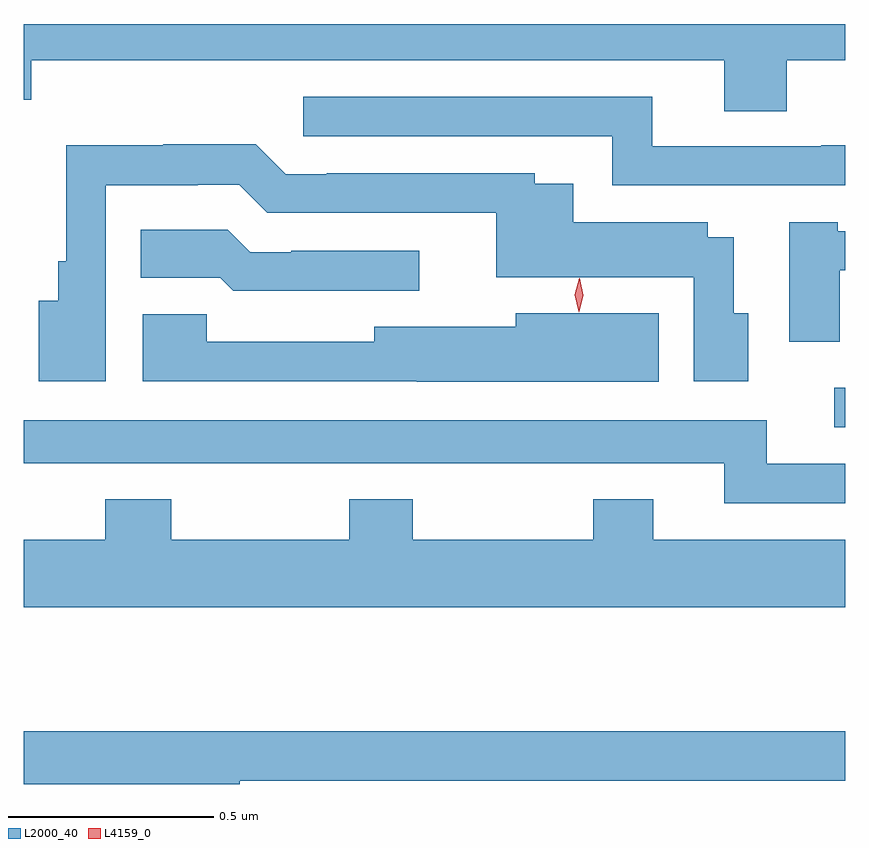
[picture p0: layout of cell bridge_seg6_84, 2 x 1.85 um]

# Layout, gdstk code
import gdstk
lib = gdstk.Library(unit=1e-6, precision=1e-09)
def R(c, l, rs):  # rectangles x0, y0, x1, y1
    for r in rs: c.add(gdstk.rectangle(r[:2], r[2:], *l))
def P(c, l, *ps):  # polygons
    for p in ps: c.add(gdstk.Polygon(p, *l))
L2000_40 = (2000, 40)
L4159_0 = (4159, 0)

bridge_seg6_84 = lib.new_cell('bridge_seg6_84')
R(bridge_seg6_84, L2000_40, [(734.901,990.399,734.928,990.495)])
P(bridge_seg6_84, L2000_40, [(734.786,991.292),(734.928,991.292),(734.928,991.38),(732.928,991.38),(732.928,991.196),(732.947,991.196),(732.947,991.292),(734.633,991.292),(734.633,991.168),(734.786,991.168)],
  [(734.928,991.085),(734.869,991.085),(734.869,991.083),(734.458,991.083),(734.458,991.203),(733.608,991.203),(733.608,991.107),(734.361,991.107),(734.361,990.987),(734.928,990.987)],
  [(733.128,990.987),(733.352,990.987),(733.352,990.989),(733.453,990.989),(733.521,990.921),(734.078,990.921),(734.078,990.764),(734.559,990.764),(734.559,990.51),(734.692,990.51),(734.692,990.676),(734.656,990.676),(734.656,990.861),(734.593,990.861),(734.593,990.898),(734.266,990.898),(734.266,990.991),(734.172,990.991),(734.172,991.017),(733.666,991.017),(733.666,991.014),(733.566,991.014),(733.493,991.087),(733.268,991.087),(733.268,991.085),(733.032,991.085),(733.032,990.802),(733.012,990.802),(733.012,990.706),(732.965,990.706),(732.965,990.51),(733.128,990.51)],
  [(734.914,990.78),(734.928,990.78),(734.928,990.876),(734.91,990.876),(734.91,990.898),(734.792,990.898),(734.792,990.606),(734.914,990.606)],
  [(733.891,990.828),(733.579,990.828),(733.579,990.825),(733.479,990.825),(733.425,990.879),(733.213,990.879),(733.213,990.762),(733.407,990.762),(733.438,990.731),(733.891,990.731)],
  [(734.474,990.676),(734.126,990.676),(734.126,990.643),(733.781,990.643),(733.781,990.606),(733.374,990.606),(733.374,990.673),(733.218,990.673),(733.218,990.51),(733.885,990.51),(733.885,990.509),(734.474,990.509)],
  [(734.928,990.309),(734.737,990.309),(734.737,990.415),(732.928,990.415),(732.928,990.311),(734.633,990.311),(734.633,990.213),(734.928,990.213)],
  [(734.928,990.124),(734.461,990.124),(734.461,990.223),(734.314,990.223),(734.314,990.124),(733.875,990.124),(733.875,990.223),(733.72,990.223),(733.72,990.124),(733.287,990.124),(733.287,990.223),(733.127,990.223),(733.127,990.124),(732.928,990.124),(732.928,989.96),(734.928,989.96)],
  [(733.454,989.538),(734.928,989.538),(734.928,989.659),(732.928,989.659),(732.928,989.53),(733.454,989.53)])
P(bridge_seg6_84, L4159_0, [(734.279,990.68),(734.279,990.68),(734.27,990.721),(734.28,990.761),(734.281,990.761),(734.281,990.761),(734.29,990.72),(734.28,990.68)])

lib.write_gds('bridge_seg6_84.gds')
